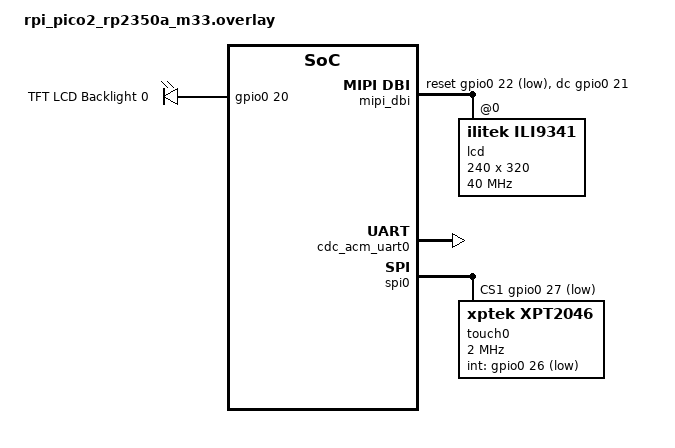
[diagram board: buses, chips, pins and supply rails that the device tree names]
/*
 * Copyright (c) 2026 Hidekazu Kato <hkato.sssl@gmail.com>
 *
 * SPDX-License-Identifier: Apache-2.0
 */
#include <zephyr/dt-bindings/display/panel.h>
#include <zephyr/dt-bindings/mipi_dbi/mipi_dbi.h>
#include <zephyr/dt-bindings/gpio/gpio.h>

/ {
	aliases {
		backlight0 = &tft_led0;
	};

	chosen {
		zephyr,console = &cdc_acm_uart0;
        	zephyr,shell-uart = &cdc_acm_uart0;
        	zephyr,display = &lcd;
        	zephyr,touch = &touch0;
	};

	pointer {
		compatible = "zephyr,lvgl-pointer-input";
		input = <&touch0>;
	};

	mipi_dbi {
		compatible = "zephyr,mipi-dbi-spi";
		spi-dev = <&spi0>;
		#address-cells = <1>;
		#size-cells = <0>;

		dc-gpios = <&gpio0 21 GPIO_ACTIVE_HIGH>;
		reset-gpios = <&gpio0 22 GPIO_ACTIVE_LOW>;

		lcd: ili9341@0 {
			compatible = "ilitek,ili9341";
			reg = <0>;

			mipi-max-frequency = <40000000>;

			width = <240>;
			height = <320>;
			v-mirror;

			pixel-format = <PANEL_PIXEL_FORMAT_RGB_565X>;
		};
	};

	leds {
		compatible = "gpio-leds";

		tft_led0: tft-led0 {
			gpios = <&gpio0 20 GPIO_ACTIVE_HIGH>;
			label = "TFT LCD Backlight 0";
		};
	};
};

&zephyr_udc0 {
	cdc_acm_uart0: cdc_acm_uart0 {
		compatible = "zephyr,cdc-acm-uart";
	};
};

&spi0 {
	status = "okay";
	cs-gpios = <&gpio0 17 GPIO_ACTIVE_LOW>,
		   <&gpio0 27 GPIO_ACTIVE_LOW>;

	touch0: xpt2046@1 {
		compatible = "xptek,xpt2046";

		reg = <1>;

		spi-max-frequency = <2000000>;

		int-gpios = <&gpio0 26 GPIO_ACTIVE_LOW>;

		touchscreen-size-x = <240>;
		touchscreen-size-y = <320>;

		min-x = <200>;
		max-x = <3900>;

		min-y = <200>;
		max-y = <3900>;
	};
};
